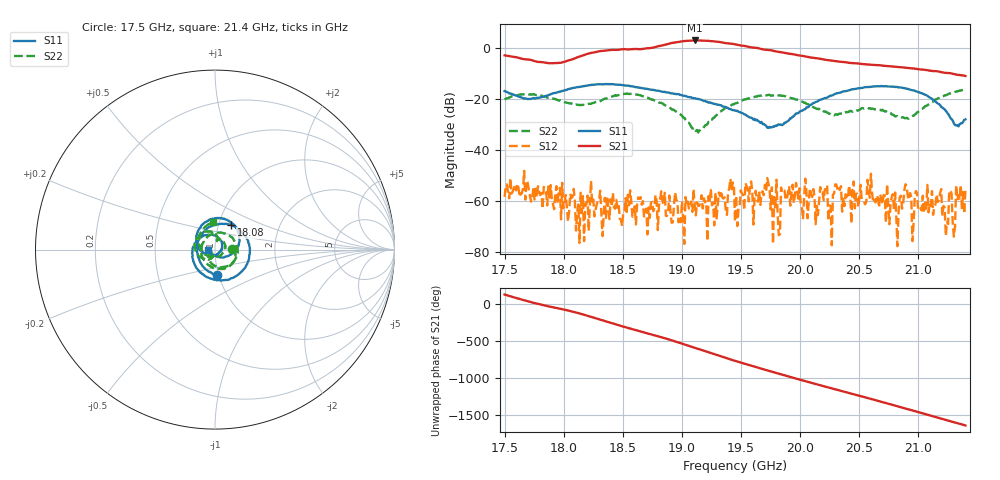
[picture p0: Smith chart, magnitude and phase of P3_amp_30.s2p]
!Created with skrf (http://scikit-rf.org).
# GHz S RI R 50.0
!freq ReS11 ImS11 ReS21 ImS21 ReS12 ImS12 ReS22 ImS22
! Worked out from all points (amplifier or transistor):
!   401 points, 17.5 GHz to 21.4 GHz, reference 50 ohm
!   highest |S21| = 3.0 dB at 19.11 GHz (marker M1)
!   |S21| within 3 dB of that: 18.73 GHz to 19.64 GHz (912 MHz wide, 4.75 % of centre)
!   unconditionally stable (mu >= 1): start of sweep to end of sweep
!   at 18.14 GHz: K = 484.77, MAG = -3.0 dB, |S12| = -56.9 dB
!   at 19.45 GHz: K = 1068.04, MAG = 1.6 dB, |S12| = -68.2 dB
!   at 21.4 GHz: K = 1098.67, MAG = -10.9 dB, |S12| = -56.1 dB
!   S11 on the Smith chart (normalised r, x): 17.5 GHz: 0.98, -0.29; 18.08 GHz: 1.15, +0.33; 21.4 GHz: 0.92, -0.00
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17.5  0.00961 -0.1427  -0.4654 0.5508  -0.00115 0.000281  0.0972 0.00217
17.74375  -0.1034 0.0154  0.5349 0.1791  0.000409 0.00172  0.0786 -0.0968
18.07525  0.0886 0.1384  -0.114 -0.5936  0.00115 0.000314  -0.0748 -0.0304
18.15325  0.1409 0.1059  -0.4964 -0.5053  -3.58e-05 -0.000569  -0.0738 0.018
18.2995  0.1944 -0.00341  -0.7905 0.3634  -0.000966 -0.00038  -0.0042 0.0877
18.4555  0.1398 -0.1298  0.1667 0.9078  -8.52e-05 -0.000722  0.1066 0.05
18.62125  0.00864 -0.171  0.9576 0.0354  0.000607 -0.000555  0.0926 -0.0792
18.8065  -0.1063 -0.0984  0.226 -1.077  6.72e-05 -0.000797  -0.00903 -0.0851
18.99175  -0.1179 0.021  -1.332 -0.2291  -0.000253 0.000281  -0.0355 -0.0336
19.10875  -0.0755 0.0701  -0.8651 1.12  0.000774 0.000293  -0.0198 -0.0186
19.1965  -0.0378 0.0837  0.211 1.383  -0.00057 0.000735  -0.00974 -0.0285
19.30375  0.00417 0.0766  1.208 0.5776  0.00041 0.00069  -0.0189 -0.0473
19.45  0.0342 0.0487  0.7928 -0.8873  0.000356 -0.000159  -0.0637 -0.0506
19.55725  0.0404 0.0214  -0.1855 -1.056  0.0016 0.000345  -0.0992 -0.025
19.723  0.0236 -0.0136  -0.922 -0.0562  0.00253 -0.00118  -0.1062 0.0524
19.8985  -0.0161 -0.0332  -0.1672 0.7656  -0.00024 -0.00141  -0.0415 0.0999
20.10325  -0.0796 -0.00523  0.6377 0.1252  -0.00114 -0.000295  0.0153 0.0691
20.33725  -0.0996 0.0878  -0.00238 -0.5416  -0.000262 0.0016  0.0118 0.05
20.53225  -0.0356 0.1629  -0.4843 -0.0475  -0.000643 0.000735  0.0347 0.0564
20.7565  0.0848 0.155  0.0208 0.4421  0.000294 -0.00018  0.0537 -0.00411
21.11725  0.0989 -0.0214  0.0897 -0.3447  0.00106 -0.00112  -0.0844 0.0174
21.4  -0.0397 -0.00173  -0.2593 0.1134  -0.00151 -0.000429  -0.00905 0.1536
